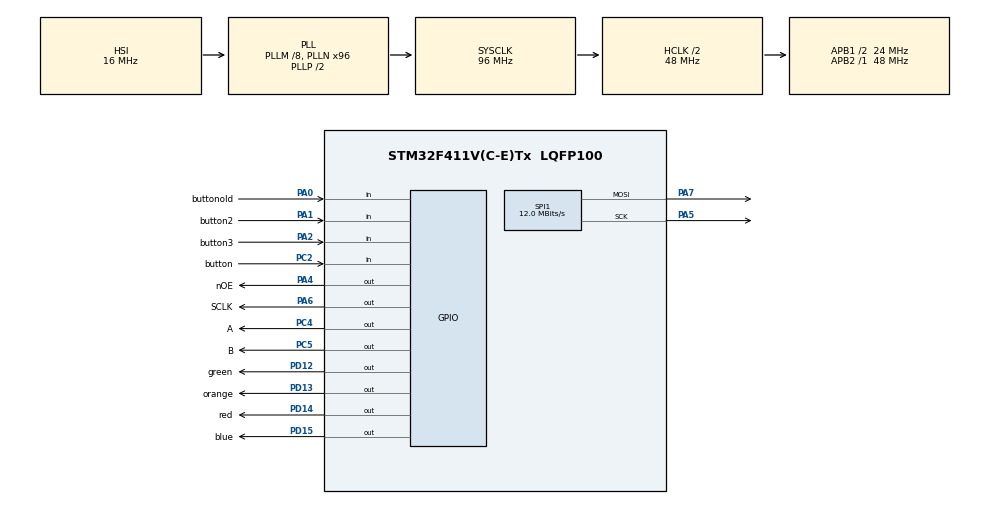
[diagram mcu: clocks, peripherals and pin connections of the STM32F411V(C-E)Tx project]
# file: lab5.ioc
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Mcu.Family=STM32F4
Mcu.Name=STM32F411V(C-E)Tx
Mcu.Package=LQFP100
NVIC.PriorityGroup=NVIC_PRIORITYGROUP_4
NVIC.TIM1_UP_TIM10_IRQn=true\:0\:0\:false\:false\:true\:true\:true\:true
PA0-WKUP.GPIO_Label=buttonold
PA0-WKUP.Signal=GPIO_Input
PA1.GPIO_Label=button2
PA1.Signal=GPIO_Input
PA13.Mode=Serial_Wire
PA13.Signal=SYS_JTMS-SWDIO
PA14.Mode=Serial_Wire
PA14.Signal=SYS_JTCK-SWCLK
PA2.GPIO_Label=button3
PA2.Signal=GPIO_Input
PA4.GPIO_Label=nOE
PA4.Signal=GPIO_Output
PA5.Mode=TX_Only_Simplex_Unidirect_Master
PA5.Signal=SPI1_SCK
PA6.GPIO_Label=SCLK
PA6.Signal=GPIO_Output
PA7.Mode=TX_Only_Simplex_Unidirect_Master
PA7.Signal=SPI1_MOSI
PC2.GPIO_Label=button
PC2.Signal=GPIO_Input
PC4.GPIO_Label=A
PC4.Signal=GPIO_Output
PC5.GPIO_Label=B
PC5.Signal=GPIO_Output
PD12.GPIO_Label=green
PD12.Signal=GPIO_Output
PD13.GPIO_Label=orange
PD13.Signal=GPIO_Output
PD14.GPIO_Label=red
PD14.Signal=GPIO_Output
PD15.GPIO_Label=blue
PD15.Signal=GPIO_Output
PH0\ -\ OSC_IN.Mode=HSE-External-Oscillator
PH0\ -\ OSC_IN.Signal=RCC_OSC_IN
PH1\ -\ OSC_OUT.Mode=HSE-External-Oscillator
PH1\ -\ OSC_OUT.Signal=RCC_OSC_OUT
ProjectManager.HeapSize=0x200
ProjectManager.StackSize=0x400
ProjectManager.TargetToolchain=STM32CubeIDE
RCC.48MHZClocksFreq_Value=48000000
RCC.AHBCLKDivider=RCC_SYSCLK_DIV2
RCC.AHBFreq_Value=48000000
RCC.APB1CLKDivider=RCC_HCLK_DIV2
RCC.APB1Freq_Value=24000000
RCC.APB1TimFreq_Value=48000000
RCC.APB2Freq_Value=48000000
RCC.APB2TimFreq_Value=48000000
RCC.CortexFreq_Value=48000000
RCC.HCLKFreq_Value=48000000
RCC.HSE_VALUE=25000000
RCC.HSI_VALUE=16000000
RCC.LSE_VALUE=32768
RCC.PLLM=8
RCC.PLLN=96
RCC.SYSCLKFreq_VALUE=96000000
RCC.SYSCLKSource=RCC_SYSCLKSOURCE_PLLCLK
RCC.VCOOutputFreq_Value=192000000
SPI1.BaudRatePrescaler=SPI_BAUDRATEPRESCALER_4
SPI1.CalculateBaudRate=12.0 MBits/s
SPI1.Direction=SPI_DIRECTION_2LINES
SPI1.Mode=SPI_MODE_MASTER
SPI1.VirtualType=VM_MASTER
TIM1.Period=2000-1
TIM1.Prescaler=200-1
VP_TIM1_VS_ClockSourceINT.Mode=Internal
board=custom

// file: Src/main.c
/* USER CODE BEGIN Header */
/**
  ******************************************************************************
  * @file           : main.c
  * @brief          : Main program body
  ******************************************************************************
  * @attention
  *
  * <h2><center>&copy; Copyright (c) 2022 STMicroelectronics.
  * All rights reserved.</center></h2>
  *
  * This software component is licensed by ST under BSD 3-Clause license,
  * the "License"; You may not use this file except in compliance with the
  * License. You may obtain a copy of the License at:
  *                        opensource.org/licenses/BSD-3-Clause
  *
  ******************************************************************************
  */
/* USER CODE END Header */
#include "main.h"
#include "spi.h"
#include "tim.h"
#include "gpio.h"

/* USER CODE BEGIN PV */
int16_t X = 32;
int16_t st1;
int16_t stflag1 = 0;
int16_t st2;
int16_t stflag2 = 0;
int16_t st3;
int16_t cnt11 = 0;
int16_t cnt12 = 0;
int16_t cnt13 = 0;
int16_t cnt14 = 0;
int16_t cnt21 = 0;
int16_t cnt22 = 0;
int16_t cnt23 = 0;
int16_t cnt24 = 0;
int16_t stflag3 = 0;
int myArray[];
int x =6;
int y =4;
int oldx =0;
int oldy =0;
uint16_t Period = 70;
uint16_t TickNum = 1; //150
extern volatile uint16_t fps=0;

extern uint8_t data1[16], data2[16], data3[16], data4[16];

void you()
{
	//Y
			  disp1color_DrawLine(24,8,24,9);
			  disp1color_DrawPixel(23,10,1);
			  disp1color_DrawPixel(25,10,1);
			  disp1color_DrawLine(26,11,26,13);
			  disp1color_DrawLine(22,11,22,13);
	//O
			  disp1color_DrawLine(15,8,15,13);
			  disp1color_DrawLine(19,8,19,13);
			  disp1color_DrawLine(19,8,15,8);
			  disp1color_DrawLine(19,13,15,13);
	//U
			  disp1color_DrawLine(8,8,8,13);
			  disp1color_DrawLine(12,8,12,13);
			  disp1color_DrawLine(12,8,8,8);
	//L
			  disp1color_DrawLine(26,1,26,6);
			  disp1color_DrawLine(26,1,22,1);
}

void lose()
{
	//L
			  disp1color_DrawLine(26,1,26,6);
			  disp1color_DrawLine(26,1,22,1);

	//O
			  disp1color_DrawLine(15,1,15,6);
			  disp1color_DrawLine(19,1,19,6);
			  disp1color_DrawLine(19,1,15,1);
			  disp1color_DrawLine(19,6,15,6);

	//S
			  disp1color_DrawLine(9,1,11,1);
			  disp1color_DrawLine(9,6,11,6);
			  disp1color_DrawLine(9,3,10,3);
			  disp1color_DrawPixel(8,2,1);
			  disp1color_DrawPixel(12,5,1);
			  disp1color_DrawPixel(11,4,1);

	//E
			  disp1color_DrawLine(1,1,5,1);
			  disp1color_DrawLine(2,4,5,4);

			  disp1color_DrawLine(1,6,5,6);
			  disp1color_DrawLine(5,1,5,6);
}

void win(){
	//w
			  disp1color_DrawPixel(25,1,1);
			  disp1color_DrawPixel(23,1,1);
			  disp1color_DrawLine(26,2,26,6);
			  disp1color_DrawLine(22,6,22,2);
			  disp1color_DrawLine(24,2,24,4);

			  //I
			  disp1color_DrawLine(18,1,18,6);
			  disp1color_DrawLine(19,1,17,1);
			  disp1color_DrawLine(19,6,17,6);

			  //N
			  disp1color_DrawLine(8,1,8,6);
			  disp1color_DrawLine(12,1,12,6);
			  disp1color_DrawPixel(9,3,1);
			  disp1color_DrawPixel(10,4,1);
			  disp1color_DrawPixel(11,5,1);
}

void oneone()
{
	disp1color_DrawLine(24,8,26,8);
	disp1color_DrawLine(25,8,25,13);
	disp1color_DrawPixel(26,12,1);
}

void onetwo()
{
	disp1color_DrawLine(15,8,20,13);
	disp1color_DrawLine(20,8,15,13);
}

void onethree()
{
	disp1color_DrawLine(8,8,13,13);
	disp1color_DrawLine(13,8,8,13);
}

void onefour()
{
	  disp1color_DrawLine(1,8,5,8);
	  disp1color_DrawPixel(5,9,1);
	  disp1color_DrawPixel(5,12,1);
	  disp1color_DrawPixel(1,12,1);
	  disp1color_DrawPixel(4,10,1);
	  disp1color_DrawLine(2,11,3,11);
	  disp1color_DrawLine(2,13,4,13);
}

void twoone()
{
	  disp1color_DrawLine(24,1,26,1);
	  disp1color_DrawLine(25,1,25,6);
	  disp1color_DrawPixel(26,5,1);
}

void twotwo()
{
	  disp1color_DrawPixel(15,2,1);
	  disp1color_DrawPixel(19,2,1);
	  disp1color_DrawPixel(15,5,1);
	  disp1color_DrawPixel(19,5,1);
	  disp1color_DrawLine(16,1,18,1);
	  disp1color_DrawLine(16,3,17,3);
	  disp1color_DrawLine(16,4,17,4);
	  disp1color_DrawLine(18,6,16,6);
}

void twothree()
{
	  disp1color_DrawLine(8,1,13,6);
	  disp1color_DrawLine(13,1,8,6);
}

void twofour()
{
	  disp1color_DrawLine(1,1,5,1);
	  disp1color_DrawPixel(5,2,1);
	  disp1color_DrawPixel(5,5,1);
	  disp1color_DrawPixel(1,5,1);
	  disp1color_DrawPixel(4,3,1);
	  disp1color_DrawLine(2,4,3,4);
	  disp1color_DrawLine(2,6,4,6);
}

void blacktwofour()
{
	 disp1color_DrawPixel(1,1,0);
	 disp1color_DrawPixel(2,1,0);
	 disp1color_DrawPixel(3,1,0);
	 disp1color_DrawPixel(4,1,0);
	 disp1color_DrawPixel(5,1,0);
	 disp1color_DrawPixel(5,2,0);
	 disp1color_DrawPixel(4,3,0);
	 disp1color_DrawPixel(3,4,0);
	 disp1color_DrawPixel(2,4,0);
	 disp1color_DrawPixel(1,5,0);
	 disp1color_DrawPixel(5,5,0);
	 disp1color_DrawPixel(2,6,0);
	 disp1color_DrawPixel(3,6,0);
	 disp1color_DrawPixel(4,6,0);

}

void blackarea (int16_t x1, int16_t y1, int16_t x2, int16_t y2)
{

	for(uint8_t i = x1; i >= x2; i--)
		{
		  disp1color_DrawPixel(i,y1,0);
		}

	for(uint8_t i = x1; i >= x2; i--)
			{
			  disp1color_DrawPixel(i,y1-1,0);
			}
	for(uint8_t i = x1; i >= x2; i--)
			{
			  disp1color_DrawPixel(i,y1-2,0);
			}
	for(uint8_t i = x1; i >= x2; i--)
			{
			  disp1color_DrawPixel(i,y1-3,0);
			}
	for(uint8_t i = x1; i >= x2; i--)
			{
			  disp1color_DrawPixel(i,y1-4,0);
			}
	for(uint8_t i = x1; i >= x2; i--)
			{
			  disp1color_DrawPixel(i,y1-5,0);
			}
	for(uint8_t i = x1; i >= x2; i--)
				{
				  disp1color_DrawPixel(i,y1-5,0);
				}
	for(uint8_t i = x1; i >= x2; i--)
				{
				  disp1color_DrawPixel(i,y1-6,0);
				}
	for(uint8_t i = x1; i >= x2; i--)
				{
				  disp1color_DrawPixel(i,y1-7,0);
				}
	for(uint8_t i = x1; i >= x2; i--)
				{
				  disp1color_DrawPixel(i,y1-8,0);
				}
	for(uint8_t i = x1; i >= x2; i--)
				{
				  disp1color_DrawPixel(i,y1-9,0);
				}
	for(uint8_t i = x1; i >= x2; i--)
				{
				  disp1color_DrawPixel(i,y1-10,0);
				}
	for(uint8_t i = x1; i >= x2; i--)
				{
				  disp1color_DrawPixel(i,y1-11,0);
				}
	for(uint8_t i = x1; i >= x2; i--)
				{
				  disp1color_DrawPixel(i,y1-12,0);
				}

}

void blackrec (int16_t x1, int16_t y1, int16_t x2, int16_t y2)
{
	disp1color_DrawPixel(x1,y1,0);
	disp1color_DrawPixel(x1-1,y1,0);
	disp1color_DrawPixel(x2,y2,0);
	disp1color_DrawPixel(x2+1,y2,0);
	/*
	for(uint8_t i = x1; i >= x2; i--)
		{
		  disp1color_DrawPixel(i,y,0);
		}

	for(uint8_t i = x1; i >= x2; i--)
			{
			  disp1color_DrawPixel(i,y-1,0);
			}
	for(uint8_t i = x1; i >= x2; i--)
			{
			  disp1color_DrawPixel(i,y-2,0);
			}
	for(uint8_t i = x1; i >= x2; i--)
			{
			  disp1color_DrawPixel(i,y-3,0);
			}
	for(uint8_t i = x1; i >= x2; i--)
			{
			  disp1color_DrawPixel(i,y-4,0);
			}
	for(uint8_t i = x1; i >= x2; i--)
			{
			  disp1color_DrawPixel(i,y-5,0);
			}
			*/
}

void drrec(int16_t x1, int16_t y1, int16_t x2, int16_t y2)
{
	for(uint8_t i = y2; i <= y1; i++)
	{
		 disp1color_DrawLine(x1,i,x2,i);
	}

}

void disp_row(int row){

	  if (row == 0){

		  for(uint8_t i=0; i<6; i++){
		  		HAL_SPI_Transmit(&hspi1, &data1, 16, 10);
		  }

		  HAL_GPIO_WritePin(SCLK_GPIO_Port, SCLK_Pin, GPIO_PIN_RESET);
		  HAL_GPIO_WritePin(SCLK_GPIO_Port, SCLK_Pin, GPIO_PIN_SET);

		  HAL_GPIO_WritePin(A_GPIO_Port, A_Pin, GPIO_PIN_RESET);
		  HAL_GPIO_WritePin(B_GPIO_Port, B_Pin, GPIO_PIN_RESET);
	  }
	  if (row == 1){

		  for(uint8_t i=0; i<6; i++){
		  		HAL_SPI_Transmit(&hspi1, &data2, 16, 10);
		  }

		  HAL_GPIO_WritePin(SCLK_GPIO_Port, SCLK_Pin, GPIO_PIN_RESET);
		  HAL_GPIO_WritePin(SCLK_GPIO_Port, SCLK_Pin, GPIO_PIN_SET);

		  HAL_GPIO_WritePin(A_GPIO_Port, A_Pin, GPIO_PIN_SET);
		  HAL_GPIO_WritePin(B_GPIO_Port, B_Pin, GPIO_PIN_RESET);
	  }

	  if (row == 2){

		  for(uint8_t i=0; i<6; i++){
		  		HAL_SPI_Transmit(&hspi1, &data3, 16, 10);
		  }

		  HAL_GPIO_WritePin(SCLK_GPIO_Port, SCLK_Pin, GPIO_PIN_RESET);
		  HAL_GPIO_WritePin(SCLK_GPIO_Port, SCLK_Pin, GPIO_PIN_SET);

		  HAL_GPIO_WritePin(A_GPIO_Port, A_Pin, GPIO_PIN_RESET);
		  HAL_GPIO_WritePin(B_GPIO_Port, B_Pin, GPIO_PIN_SET);
	  }

	  if (row == 3){

		  for(uint8_t i=0; i<6; i++){
		  		HAL_SPI_Transmit(&hspi1, &data4, 16, 10);
		  }

		  HAL_GPIO_WritePin(SCLK_GPIO_Port, SCLK_Pin, GPIO_PIN_RESET);
		  HAL_GPIO_WritePin(SCLK_GPIO_Port, SCLK_Pin, GPIO_PIN_SET);

		  HAL_GPIO_WritePin(A_GPIO_Port, A_Pin, GPIO_PIN_SET);
		  HAL_GPIO_WritePin(B_GPIO_Port, B_Pin, GPIO_PIN_SET);
	  }

	  HAL_GPIO_WritePin(nOE_GPIO_Port, nOE_Pin, GPIO_PIN_SET);
		  for(uint32_t x=0; x<=500; x++) {};
	 HAL_GPIO_WritePin(nOE_GPIO_Port, nOE_Pin, GPIO_PIN_RESET);
  }

/* USER CODE END PV */

void SystemClock_Config(void);

int main(void)
{

  /* MCU Configuration--------------------------------------------------------*/

  /* Reset of all peripherals, Initializes the Flash interface and the Systick. */
  HAL_Init();

  /* Configure the system clock */
  SystemClock_Config();

  /* Initialize all configured peripherals */
  MX_GPIO_Init();
  MX_SPI1_Init();
  MX_TIM1_Init();
  /* USER CODE BEGIN 2 */
 HAL_GPIO_WritePin(nOE_GPIO_Port, nOE_Pin, GPIO_PIN_RESET);
 HAL_TIM_Base_Start_IT(&htim1);
 char *pMyStr = "";  //РЎС‚СЂРѕРєР° РЅР° РІС‹РІРѕРґ
 uint16_t strSize = strlen(pMyStr);
 uint8_t symbolDelay = 2;
  /* USER CODE END 2 */

  /* Infinite loop */
  while (1)
  {

    /* USER CODE BEGIN 3 */

	  //disp1color_FillScreenbuff(0);

		  disp1color_DrawLine(0,0,28,0);
		  disp1color_DrawLine(0,14,28,14);
		  disp1color_DrawLine(0,7,28,7);
		  disp1color_DrawLine(0,0,0,14);
		  disp1color_DrawLine(7,0,7,14);
		  disp1color_DrawLine(14,0,14,14);
		  disp1color_DrawLine(21,0,21,14);
		  disp1color_DrawLine(28,0,28,14);

		  st1 = !(HAL_GPIO_ReadPin(button_GPIO_Port,button_Pin));
		  st2 = !(HAL_GPIO_ReadPin(button2_GPIO_Port,button2_Pin));
		  st3 = !(HAL_GPIO_ReadPin(button3_GPIO_Port,button3_Pin));

		  if(st1 == 1 && stflag1==0 )
		  {
			  stflag1=1;
			  if (x==6 && y==4)
			  {
				  twofour();
				  cnt24 =1;
			  }
			  if (x==13 && y==4)
			  {
				  twothree();
				  cnt23 =1;
			  }
			  if (x==20 && y==4)
			  {
			  	 twotwo();
			  	cnt22 =1;
			  }
			  if (x==27 && y==4)
			  {
			  	 twoone();
			  	cnt21 =1;
			  }

			  if (x==6 && y==11)
			  {
			  	onefour();
			  	cnt14 =1;
			  }
			  if (x==13 && y==11)
			  {
			  	onethree();
			  	cnt13 =1;
			  }
			  if (x==20 && y==11)
			  {
			  	onetwo();
			  	cnt12 =1;
			  }
			  if (x==27 && y==11)
			  {
			    oneone();
			    cnt11 =1;
			  }

		  }

		  if (cnt12==1 || cnt13==1 || cnt23==1)
		  {
			  blackarea(27,13,1,1);
			  you();
			  lose();

		  }

		  if (cnt11==1 && cnt21==1 && cnt22==1 && cnt14==1 && cnt24==1)
		  {
			  blackarea(27,13,1,1);
			  you();
			  win();
		  }

		  if (st1 ==0 && stflag1==1)
		  {
			  stflag1=0;
		  }

		  if(st2 == 1 && stflag2==0 )
		  {
	        stflag2=1;
	        oldx=x;
	        oldy=y;

	        if (x == 27)
	        {
	         x=6;
	        }
	        else{
	         x = x+7;
	        }
	        drrec(x,y,x-1,y-1);
	        blackrec(oldx,oldy,oldx-1,oldy-1);
		  }
		   if (st2 ==0 && stflag2==1)
		   {
		  	 stflag2=0;
		  }

		  if(st3 == 1 && stflag3==0 )
		  {
		    stflag3=1;
		    oldx=x;
		    oldy=y;
			   if (y == 11)
			   {
				  y=4;
			   }
			   else
			   {
				 y = y+7;
			   }
		   drrec(x,y,x-1,y-1);
		   blackrec(oldx,oldy,oldx-1,oldy-1);

		  }
		  if (st3 ==0 && stflag3==1)
		  {
		  	stflag3=0;
          }

		  disp1color_UpdateFromBuff(); //РџРµСЂРµРІРѕРґ СЂР°СЃСЃС‡РёС‚Р°РЅРЅС‹С… РґР°РЅРЅС‹С… РІ Р�?Р°СЃСЃРёРІ
		 		  prepare_data(); //Р Р°Р·Р±РёРµРЅРёРµ Р�?Р°СЃСЃРёРІР° РЅР° Р�?Р°СЃСЃРёРІС‹ РїРѕРґ РєР°Р¶РґСѓСЋ СЃС‚СЂРѕРєСѓ
		  //Р’РєР»СЋС‡РµРЅРёРµ Р�?Р°С‚СЂРёС†С‹ (РїРѕСЃС‚СЂРѕС‡РЅРѕ)
		  for(uint8_t i=0; i<20; i++){
			  disp_row(0);
			  disp_row(1);
			  disp_row(2);
			  disp_row(3);
		  }

  }
  /* USER CODE END 3 */
}

void SystemClock_Config(void)
{
  RCC_OscInitTypeDef RCC_OscInitStruct = {0};
  RCC_ClkInitTypeDef RCC_ClkInitStruct = {0};

  /** Configure the main internal regulator output voltage
  */
  __HAL_RCC_PWR_CLK_ENABLE();
  __HAL_PWR_VOLTAGESCALING_CONFIG(PWR_REGULATOR_VOLTAGE_SCALE1);

  /** Initializes the RCC Oscillators according to the specified parameters
  * in the RCC_OscInitTypeDef structure.
  */
  RCC_OscInitStruct.OscillatorType = RCC_OSCILLATORTYPE_HSI;
  RCC_OscInitStruct.HSIState = RCC_HSI_ON;
  RCC_OscInitStruct.HSICalibrationValue = RCC_HSICALIBRATION_DEFAULT;
  RCC_OscInitStruct.PLL.PLLState = RCC_PLL_ON;
  RCC_OscInitStruct.PLL.PLLSource = RCC_PLLSOURCE_HSI;
  RCC_OscInitStruct.PLL.PLLM = 8;
  RCC_OscInitStruct.PLL.PLLN = 96;
  RCC_OscInitStruct.PLL.PLLP = RCC_PLLP_DIV2;
  RCC_OscInitStruct.PLL.PLLQ = 4;
  if (HAL_RCC_OscConfig(&RCC_OscInitStruct) != HAL_OK)
  {
    Error_Handler();
  }

  /** Initializes the CPU, AHB and APB buses clocks
  */
  RCC_ClkInitStruct.ClockType = RCC_CLOCKTYPE_HCLK|RCC_CLOCKTYPE_SYSCLK
                              |RCC_CLOCKTYPE_PCLK1|RCC_CLOCKTYPE_PCLK2;
  RCC_ClkInitStruct.SYSCLKSource = RCC_SYSCLKSOURCE_PLLCLK;
  RCC_ClkInitStruct.AHBCLKDivider = RCC_SYSCLK_DIV2;
  RCC_ClkInitStruct.APB1CLKDivider = RCC_HCLK_DIV2;
  RCC_ClkInitStruct.APB2CLKDivider = RCC_HCLK_DIV1;

  if (HAL_RCC_ClockConfig(&RCC_ClkInitStruct, FLASH_LATENCY_1) != HAL_OK)
  {
    Error_Handler();
  }
}

void Error_Handler(void)
{
  __disable_irq();
  while (1)
  {
  }
}
